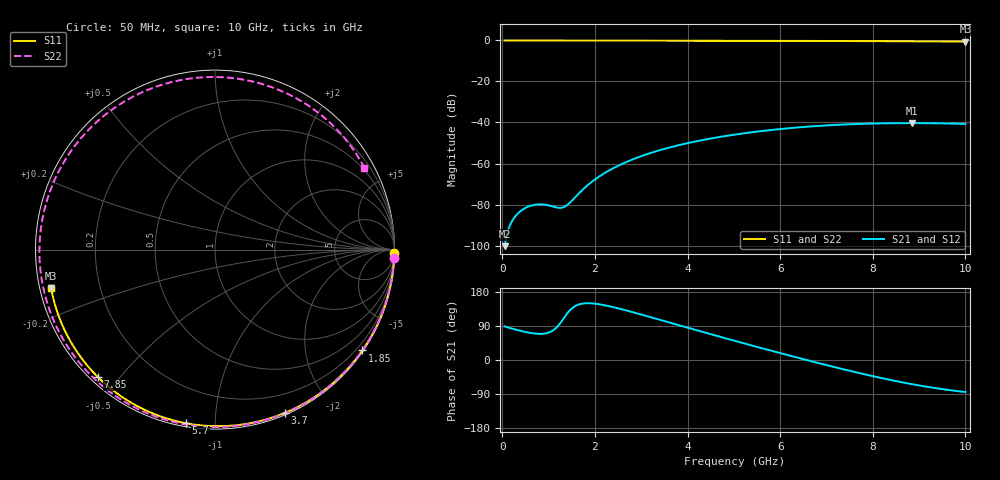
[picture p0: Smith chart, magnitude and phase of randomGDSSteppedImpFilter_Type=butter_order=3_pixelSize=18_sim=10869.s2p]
! freq	dB(S11)	phase(S11)	dB(S12)	phase(S12)
!  dB(S21)	phase(S21)	dB(S22)	phase(S22)
!S-par simulation data
#  GHz  S  DB  R 50
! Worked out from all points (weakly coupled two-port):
!   200 points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, 50 MHz to 10 GHz, reference 50 ohm
!   highest |S21| = -40.31 dB at 8.85 GHz (marker M1); lowest = -100.3 dB at 50 MHz (marker M2)
!   lowest |S11| = -0.6 dB at 10 GHz (marker M3), VSWR 31.11, Z = 1.63 - j5.78 ohm
!   |S11| at or under -10 dB: nowhere
!   |S22| runs from -0.5 to 0.0 dB; largest |S21 - S12| = 0
!   S11 on the Smith chart (normalised r, x): 50 MHz: open; 1.85 GHz: 0.03, -3.23; 3.7 GHz: 0.02, -1.51; 5.7 GHz: 0.02, -0.85; 7.85 GHz: 0.02, -0.44; 10 GHz: 0.03, -0.12
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0.05  -0.00 -1.0  -100.30 88.9  -100.30 88.9  -0.00 -2.6
0.35  -0.01 -6.6  -84.05 78.2  -84.05 78.2  -0.02 -18.0
0.65  -0.02 -12.2  -80.36 70.6  -80.36 70.6  -0.04 -33.1
1.05  -0.02 -19.7  -80.69 74.8  -80.69 74.8  -0.06 -52.5
1.4  -0.03 -26.2  -80.29 122.6  -80.29 122.6  -0.08 -68.5
1.75  -0.04 -32.6  -72.46 149.2  -72.46 149.2  -0.09 -83.6
1.85  -0.04 -34.4  -70.45 149.9  -70.45 149.9  -0.10 -87.7
2.15  -0.05 -39.8  -65.49 145.9  -65.49 145.9  -0.10 -99.6
2.5  -0.06 -46.1  -61.11 136.4  -61.11 136.4  -0.11 -112.6
2.95  -0.07 -54.0  -56.83 121.7  -56.83 121.7  -0.13 -128.2
3.4  -0.08 -61.8  -53.51 106.2  -53.51 106.2  -0.14 -142.7
3.7  -0.09 -66.9  -51.68 95.8  -51.68 95.8  -0.15 -151.9
4.35  -0.11 -77.8  -48.45 73.3  -48.45 73.3  -0.18 -170.7
5.05  -0.14 -89.2  -45.80 49.5  -45.80 49.5  -0.20 170.0
5.7  -0.17 -99.5  -43.91 28.0  -43.91 28.0  -0.23 152.5
6.7  -0.23 -115.1  -41.86 -4.1  -41.86 -4.1  -0.28 125.4
7.3  -0.27 -124.3  -41.06 -22.5  -41.06 -22.5  -0.31 108.8
7.85  -0.32 -132.7  -40.60 -38.5  -40.60 -38.5  -0.33 93.1
8.35  -0.36 -140.4  -40.37 -51.9  -40.37 -51.9  -0.36 78.5
8.85  -0.41 -148.1  -40.31 -63.9  -40.31 -63.9  -0.38 63.6
9.4  -0.48 -156.9  -40.40 -75.0  -40.40 -75.0  -0.41 46.9
10  -0.56 -166.8  -40.71 -84.5  -40.71 -84.5  -0.46 28.6
